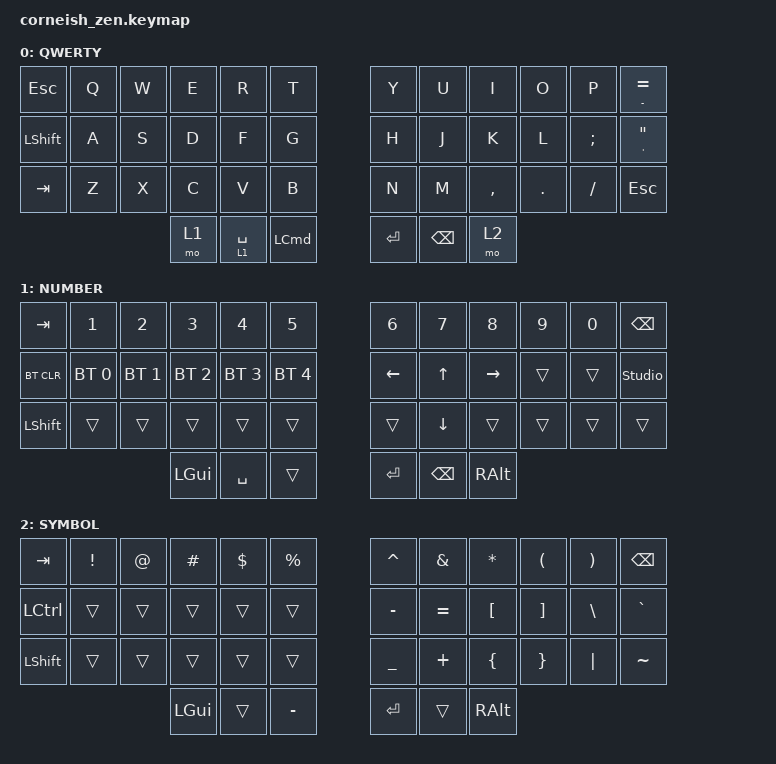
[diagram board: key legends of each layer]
#include <behaviors.dtsi>
#include <dt-bindings/zmk/bt.h>
#include <dt-bindings/zmk/keys.h>

/ {
    chosen {
        zmk,physical-layout = &foostan_corne_6col_layout;

        // zmk,physical-layout = &foostan_corne_5col_layout;
    };
};

/ {
    keymap {
        compatible = "zmk,keymap";

        default_layer {
            display-name = "QWERTY";

            // --------------------------------------------------------------------------------
            // |  TAB |  Q  |  W  |  E  |  R  |  T  |   |  Y  |  U   |  I  |  O  |  P  | BSPC |
            // | CTRL |  A  |  S  |  D  |  F  |  G  |   |  H  |  J   |  K  |  L  |  ;  |  '   |
            // | SHFT |  Z  |  X  |  C  |  V  |  B  |   |  N  |  M   |  ,  |  .  |  /  | ESC  |
            //                    | GUI | LWR | SPC |   | ENT | RSE  | ALT |

            bindings = <
&kp ESCAPE      &kp Q  &kp W  &kp E  &kp R        &kp T               &kp Y    &kp U          &kp I      &kp O    &kp P     &mt MINUS EQUAL
&kp LEFT_SHIFT  &kp A  &kp S  &kp D  &kp F        &kp G               &kp H    &kp J          &kp K      &kp L    &kp SEMI  &mt SINGLE_QUOTE DOUBLE_QUOTES
&kp TAB         &kp Z  &kp X  &kp C  &kp V        &kp B               &kp N    &kp M          &kp COMMA  &kp DOT  &kp FSLH  &kp ESC
                              &mo 1  &lt 1 SPACE  &kp LEFT_COMMAND    &kp RET  &kp BACKSPACE  &mo 2
            >;
        };

        lower_layer {
            display-name = "NUMBER";

            // -----------------------------------------------------------------------------------------
            // |  TAB |  1  |  2  |  3  |  4  |  5  |   |  6  |  7  |  8  |  9  |  0  | BSPC |
            // | BTCLR| BT1 | BT2 | BT3 | BT4 | BT5 |   | LFT | DWN |  UP | RGT |     |Studio|
            // | SHFT |     |     |     |     |     |   |     |     |     |     |     |      |
            //                    | GUI |     | SPC |   | ENT |     | ALT |

            bindings = <
&kp TAB     &kp N1        &kp N2        &kp N3        &kp N4        &kp N5          &kp N6    &kp N7          &kp N8     &kp N9  &kp N0  &kp BSPC
&bt BT_CLR  &bt BT_SEL 0  &bt BT_SEL 1  &bt BT_SEL 2  &bt BT_SEL 3  &bt BT_SEL 4    &kp LEFT  &kp UP_ARROW    &kp RIGHT  &trans  &trans  &studio_unlock
&kp LSHFT   &trans        &trans        &trans        &trans        &trans          &trans    &kp DOWN_ARROW  &trans     &trans  &trans  &trans
                                        &kp LGUI      &kp SPACE     &trans          &kp RET   &kp BACKSPACE   &kp RALT
            >;
        };

        raise_layer {
            display-name = "SYMBOL";

            // -----------------------------------------------------------------------------------------
            // |  TAB |  !  |  @  |  #  |  $  |  %  |   |  ^  |  &  |  *  |  (  |  )  | BSPC |
            // | CTRL |     |     |     |     |     |   |  -  |  =  |  [  |  ]  |  \  |  `   |
            // | SHFT |     |     |     |     |     |   |  _  |  +  |  {  |  }  | "|" |  ~   |
            //                    | GUI |     | SPC |   | ENT |     | ALT |

            bindings = <
&kp TAB    &kp EXCL  &kp AT  &kp HASH  &kp DLLR  &kp PRCNT    &kp CARET  &kp AMPS   &kp ASTRK  &kp LPAR  &kp RPAR  &kp BSPC
&kp LCTRL  &trans    &trans  &trans    &trans    &trans       &kp MINUS  &kp EQUAL  &kp LBKT   &kp RBKT  &kp BSLH  &kp GRAVE
&kp LSHFT  &trans    &trans  &trans    &trans    &trans       &kp UNDER  &kp PLUS   &kp LBRC   &kp RBRC  &kp PIPE  &kp TILDE
                             &kp LGUI  &trans    &kp MINUS    &kp RET    &trans     &kp RALT
            >;
        };
    };
};
